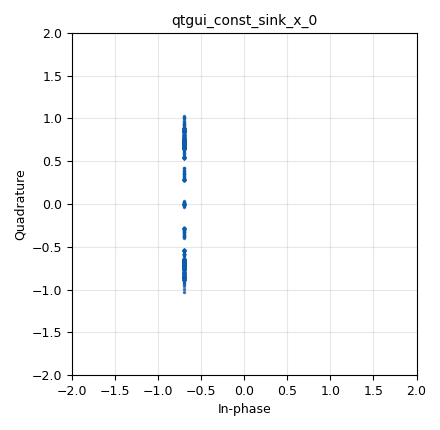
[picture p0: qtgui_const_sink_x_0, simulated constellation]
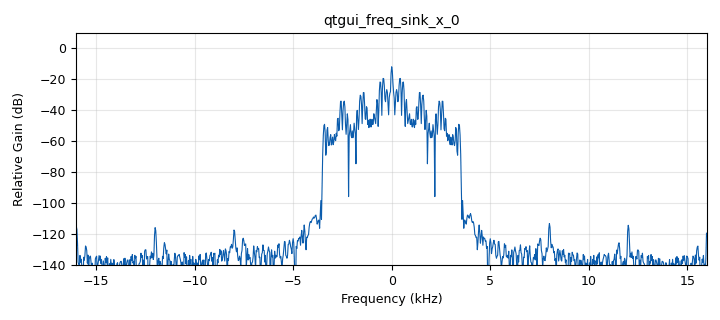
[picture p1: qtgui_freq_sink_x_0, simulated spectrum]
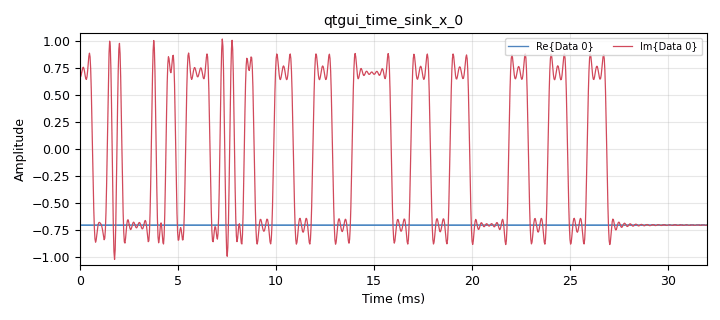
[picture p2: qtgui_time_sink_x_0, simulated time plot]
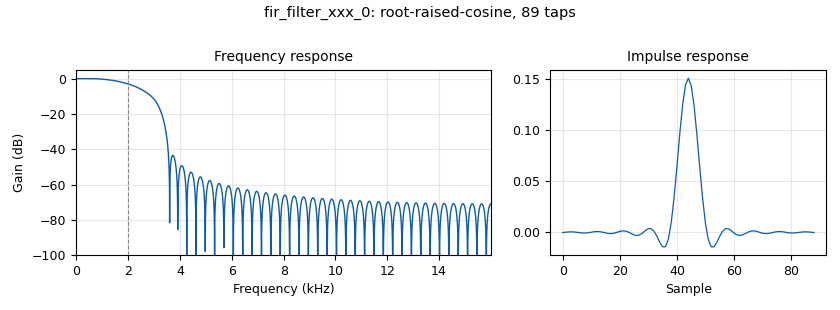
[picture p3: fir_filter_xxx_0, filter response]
options:
  parameters:
    author: Antonio macaco
    generate_options: qt_gui
    id: top_block
    output_language: python
    title: QPSK
  states: {}

blocks:
- name: QPSK
  id: variable_constellation
  parameters:
    const_points: '[-1-1j, -1+1j, 1+1j, 1-1j]'
    dims: '2'
    normalization: digital.constellation.AMPLITUDE_NORMALIZATION
    precision: '8'
    rot_sym: '4'
    sym_map: '[0, 1, 2, 3]'
    type: calcdist
  states: {}
- name: rolloff
  id: variable
  parameters:
    value: '0.75'
  states: {}
- name: rrc_taps
  id: variable
  parameters:
    value: firdes.root_raised_cosine(1.0, samp_rate, samp_rate/sps, rolloff, 11*sps)
  states: {}
- name: samp_rate
  id: variable
  parameters:
    value: '32000'
  states: {}
- name: sps
  id: variable
  parameters:
    value: '8'
  states: {}
- name: blocks_add_xx_0
  id: blocks_add_xx
  parameters:
    type: float
  states: {}
- name: blocks_char_to_float_0
  id: blocks_char_to_float
  parameters:
    scale: '1'
  states: {}
- name: blocks_char_to_float_1
  id: blocks_char_to_float
  parameters:
    scale: '1'
  states: {}
- name: blocks_complex_to_imag_0
  id: blocks_complex_to_imag
  parameters: {}
  states: {}
- name: blocks_complex_to_real_0
  id: blocks_complex_to_real
  parameters: {}
  states: {}
- name: blocks_file_sink_0
  id: blocks_file_sink
  parameters:
    file: C:\Users\Antonio\Downloads\Tele\lab2\lab2\qpsk_sent.dat
    type: byte
    unbuffered: 'True'
  states: {}
- name: blocks_file_sink_1
  id: blocks_file_sink
  parameters:
    file: C:\Users\Antonio\Downloads\Tele\lab2\lab2\qpsk_rec.dat
    type: byte
    unbuffered: 'True'
  states: {}
- name: blocks_float_to_char_0
  id: blocks_float_to_char
  parameters:
    scale: '1'
  states: {}
- name: blocks_multiply_const_vxx_0
  id: blocks_multiply_const_vxx
  parameters:
    const: '2'
    type: float
  states: {}
- name: blocks_pack_k_bits_bb_0
  id: blocks_pack_k_bits_bb
  parameters:
    k: '8'
  states: {}
- name: blocks_throttle2_0
  id: blocks_throttle2
  parameters:
    samples_per_second: samp_rate
    type: complex
  states: {}
- name: blocks_vector_source_x_0
  id: blocks_vector_source_x
  parameters:
    repeat: 'False'
    type: byte
    vector: '[240,240,240,15,15,15,240,240,240,]+[19,62,19,19,62,40,19,62,83,]+[15,15,15,240,240,240,15,15,15,0,0,0,0,0,0,0,0]'
  states: {}
- name: channels_channel_model_0
  id: channels_channel_model
  parameters:
    epsilon: '1.0'
    freq_offset: '0.0'
    noise_voltage: '0.0'
    seed: '0'
    taps: '1.0 '
  states: {}
- name: digital_binary_slicer_fb_0
  id: digital_binary_slicer_fb
  parameters: {}
  states: {}
- name: digital_binary_slicer_fb_0_0
  id: digital_binary_slicer_fb
  parameters: {}
  states: {}
- name: digital_constellation_modulator_0
  id: digital_constellation_modulator
  parameters:
    constellation: QPSK
    differential: 'False'
    excess_bw: rolloff
    samples_per_symbol: sps
  states: {}
- name: digital_symbol_sync_xx_0
  id: digital_symbol_sync_xx
  parameters:
    damping: '1.0'
    loop_bw: '0'
    max_dev: '1.5'
    osps: '1'
    resamp_type: digital.IR_MMSE_8TAP
    sps: sps
    ted_gain: '1.0'
    ted_type: digital.TED_SIGNAL_TIMES_SLOPE_ML
    type: cc
  states: {}
- name: fir_filter_xxx_0
  id: fir_filter_xxx
  parameters:
    decim: '1'
    taps: rrc_taps
    type: ccf
  states: {}
- name: qtgui_const_sink_x_0
  id: qtgui_const_sink_x
  parameters:
    size: '1024'
    type: complex
  states: {}
- name: qtgui_freq_sink_x_0
  id: qtgui_freq_sink_x
  parameters:
    bw: samp_rate
    fc: '0'
    fftsize: '1024'
    type: complex
  states: {}
- name: qtgui_time_sink_x_0
  id: qtgui_time_sink_x
  parameters:
    size: '1024'
    srate: samp_rate
    type: complex
  states: {}
- name: virtual_sink_0
  id: virtual_sink
  parameters:
    stream_id: QPSK_mod
  states: {}
- name: virtual_sink_0_0
  id: virtual_sink
  parameters:
    stream_id: QPSK_mod2
  states: {}
- name: virtual_source_0
  id: virtual_source
  parameters:
    stream_id: QPSK_mod
  states: {}
- name: virtual_source_0_0
  id: virtual_source
  parameters:
    stream_id: QPSK_mod2
  states: {}

connections:
- [blocks_add_xx_0, '0', blocks_float_to_char_0, '0']
- [blocks_char_to_float_0, '0', blocks_multiply_const_vxx_0, '0']
- [blocks_char_to_float_1, '0', blocks_add_xx_0, '1']
- [blocks_complex_to_imag_0, '0', digital_binary_slicer_fb_0_0, '0']
- [blocks_complex_to_real_0, '0', digital_binary_slicer_fb_0, '0']
- [blocks_float_to_char_0, '0', blocks_pack_k_bits_bb_0, '0']
- [blocks_multiply_const_vxx_0, '0', blocks_add_xx_0, '0']
- [blocks_pack_k_bits_bb_0, '0', blocks_file_sink_1, '0']
- [blocks_throttle2_0, '0', virtual_sink_0, '0']
- [blocks_vector_source_x_0, '0', blocks_file_sink_0, '0']
- [blocks_vector_source_x_0, '0', digital_constellation_modulator_0, '0']
- [channels_channel_model_0, '0', fir_filter_xxx_0, '0']
- [digital_binary_slicer_fb_0, '0', blocks_char_to_float_0, '0']
- [digital_binary_slicer_fb_0_0, '0', blocks_char_to_float_1, '0']
- [digital_constellation_modulator_0, '0', blocks_throttle2_0, '0']
- [digital_constellation_modulator_0, '0', qtgui_const_sink_x_0, '0']
- [digital_constellation_modulator_0, '0', qtgui_freq_sink_x_0, '0']
- [digital_constellation_modulator_0, '0', qtgui_time_sink_x_0, '0']
- [digital_symbol_sync_xx_0, '0', virtual_sink_0_0, '0']
- [fir_filter_xxx_0, '0', digital_symbol_sync_xx_0, '0']
- [virtual_source_0, '0', channels_channel_model_0, '0']
- [virtual_source_0_0, '0', blocks_complex_to_imag_0, '0']
- [virtual_source_0_0, '0', blocks_complex_to_real_0, '0']

metadata:
  file_format: 1
  grc_version: 3.10.10.0
